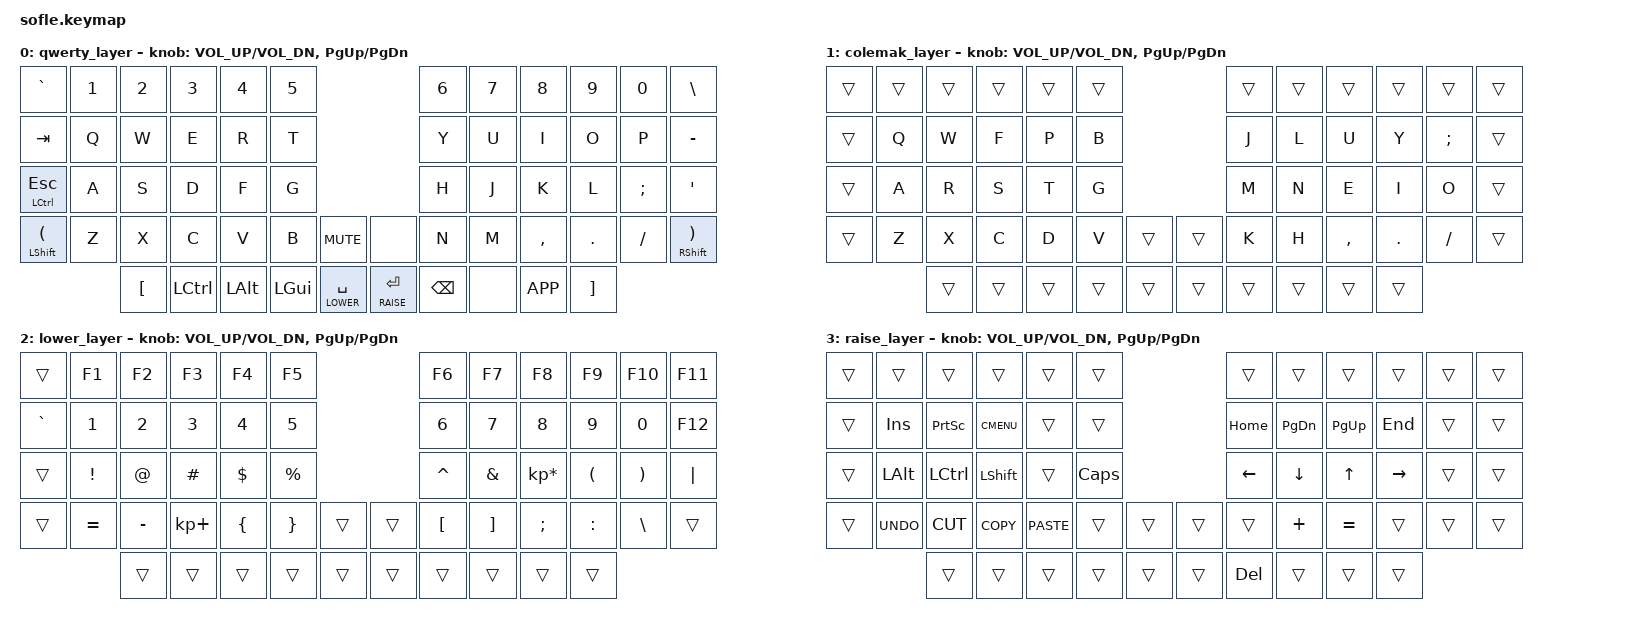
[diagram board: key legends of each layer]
/*
 * Copyright (c) 2020 The ZMK Contributors
 *
 * SPDX-License-Identifier: MIT
 */

#include <behaviors.dtsi>
#include <dt-bindings/zmk/keys.h>
#include <dt-bindings/zmk/bt.h>

#define QWERTY  0
#define COLEMAK 1
#define LOWER   2
#define RAISE   3

/ {
    combos {
        compatible = "zmk,combos";
        combo_colemak {
            timeout-ms = <50>;
            key-positions = <13 14 15>;
            bindings = <&tog COLEMAK>;
        };
    };

    keymap {
        compatible = "zmk,keymap";

        qwerty_layer { // 0
// --------------------------------------------------------------------------------------------------------------------
// |  `     |  1  |  2  |  3   |  4  |  5  |                              |  6    |  7   |  8    |  9  |   0   |   \   |
// |  TAB   |  Q  |  W  |  E   |  R  |  T  |                              |  Y    |  U   |  I    |  O  |   P   |   -   |
// |CTRL/ESC|  A  |  S  |  D   |  F  |  G  |                              |  H    |  J   |  K    |  L  |   ;   |   '   |
// |SHIFT/( |  Z  |  X  |  C   |  V  |  B  |     MUTE    |  |             |  N    |  M   |  ,    |  .  |   /   |SHIFT/)|
//                |  [  | CTRL | ALT | GUI | LOWER/SPACE |  | RAISE/ENTER | BKSPC |  FN  | MENU  |  ]  |
            bindings = <
&kp GRAVE      &kp N1 &kp N2    &kp N3    &kp N4   &kp N5                                 &kp N6    &kp N7    &kp N8    &kp N9   &kp N0   &kp BSLH
&kp TAB        &kp Q  &kp W     &kp E     &kp R    &kp T                                  &kp Y     &kp U     &kp I     &kp O    &kp P    &kp MINUS
&mt LCTRL ESC  &kp A  &kp S     &kp D     &kp F    &kp G                                  &kp H     &kp J     &kp K     &kp L    &kp SEMI &kp SQT
&mt LSHFT LPAR &kp Z  &kp X     &kp C     &kp V    &kp B    &kp C_MUTE      &none         &kp N     &kp M     &kp COMMA &kp DOT  &kp FSLH &mt RSHFT RPAR
                      &kp LBKT  &kp LCTRL &kp LALT &kp LGUI &lt LOWER SPACE &lt RAISE RET &kp BSPC  &none     &kp K_APP &kp RBKT
            >;

            sensor-bindings = <&inc_dec_kp C_VOL_UP C_VOL_DN &inc_dec_kp PG_UP PG_DN>;
        };

        colemak_layer { // 1
// ----------------------------------------------------------------------------------------------------------
// |      |     |     |     |     |     |                              |     |     |     |     |     |      |
// |      |  Q  |  W  |  F  |  P  |  B  |                              |  J  |  L  |  U  |  Y  |  ;  |      |
// |      |  A  |  R  |  S  |  T  |  G  |                              |  M  |  N  |  E  |  I  |  O  |      |
// |      |  Z  |  X  |  C  |  D  |  V  |             |  |             |  K  |  H  |  ,  |  .  |  /  |      |
//              |     |     |     |     |             |  |             |     |     |     |     |
            bindings = <
&trans   &trans &trans    &trans    &trans   &trans                     &trans    &trans    &trans    &trans   &trans   &trans
&trans   &kp Q  &kp W     &kp F     &kp P    &kp B                      &kp J     &kp L     &kp U     &kp Y    &kp SEMI &trans
&trans   &kp A  &kp R     &kp S     &kp T    &kp G                      &kp M     &kp N     &kp E     &kp I    &kp O    &trans
&trans   &kp Z  &kp X     &kp C     &kp D    &kp V    &trans   &trans   &kp K     &kp H     &kp COMMA &kp DOT  &kp FSLH &trans
                &trans    &trans    &trans   &trans   &trans   &trans   &trans    &trans    &trans    &trans
            >;

            sensor-bindings = <&inc_dec_kp C_VOL_UP C_VOL_DN &inc_dec_kp PG_UP PG_DN>;
        };

        lower_layer { // 2
// TODO: Some binds are waiting for shifted keycode support.
// ------------------------------------------------------------------------------------------------------------
// |       |  F1 |  F2 |  F3  |  F4  |  F5  |                   |  F6  |  F7   |  F8   |  F9  |  F10  |  F11  |
// | `     |   1 |   2 |   3  |   4  |   5  |                   |   6  |   7   |   8   |   9  |    0  |  F12  |
// |       |  !  |  @  |  #   |  $   |  %   |                   |  ^   |  &    |  *    |  (   |   )   |   |   |
// |       |  =  |  -  |  +   |  {   |  }   |        |  |       |  [   |  ]    |  ;    |  :   |   \   |       |
//               |     |      |      |      |        |  |       |      |       |       |      |
            bindings = <
&trans    &kp F1    &kp F2    &kp F3      &kp F4    &kp F5                    &kp F6    &kp F7   &kp F8          &kp F9    &kp F10   &kp F11
&kp GRAVE &kp N1    &kp N2    &kp N3      &kp N4    &kp N5                    &kp N6    &kp N7   &kp N8          &kp N9    &kp N0    &kp F12
&trans    &kp EXCL  &kp AT    &kp HASH    &kp DLLR  &kp PRCNT                 &kp CARET &kp AMPS &kp KP_MULTIPLY &kp LPAR  &kp RPAR  &kp PIPE
&trans    &kp EQUAL &kp MINUS &kp KP_PLUS &kp LBRC  &kp RBRC  &trans   &trans &kp LBKT  &kp RBKT &kp SEMI        &kp COLON &kp BSLH  &trans
                    &trans    &trans      &trans    &trans    &trans   &trans &trans    &trans   &trans          &trans
            >;

            sensor-bindings = <&inc_dec_kp C_VOL_UP C_VOL_DN &inc_dec_kp PG_UP PG_DN>;
        };

        raise_layer { // 3
// ---------------------------------------------------------------------------------------------------------
// |     |      |      |       |       |      |                |      |      |      |      |       |       |
// |     | INS  | PSCR | GUI   |       |      |                | HOME | PGDN | PGUP | END  |       |       |
// |     | ALT  | CTRL | SHIFT |       | CAPS |                |   <- |   v  |   ^  |  ->  |       |       |
// |     | UNDO | CUT  | COPY  | PASTE |      |      |  |      |      |   +  |   =  |      |       |       |
//              |      |       |       |      |      |  |      | DEL  |      |      |      |
            bindings = <
&trans   &trans       &trans       &trans       &trans       &trans                   &trans    &trans    &trans    &trans    &trans  &trans
&trans   &kp INS      &kp PSCRN    &kp K_CMENU  &trans       &trans                   &kp HOME  &kp PG_DN &kp PG_UP &kp END   &trans  &trans
&trans   &kp LALT     &kp LCTRL    &kp LSHFT    &trans       &kp CLCK                 &kp LEFT  &kp DOWN  &kp UP    &kp RIGHT &trans  &trans
&trans   &kp K_UNDO   &kp K_CUT    &kp K_COPY   &kp K_PASTE  &trans  &trans   &trans  &trans    &kp PLUS  &kp EQUAL &trans    &trans  &trans
                      &trans       &trans       &trans       &trans  &trans   &trans  &kp DEL   &trans    &trans    &trans
            >;

            sensor-bindings = <&inc_dec_kp C_VOL_UP C_VOL_DN &inc_dec_kp PG_UP PG_DN>;
        };
    };
};
